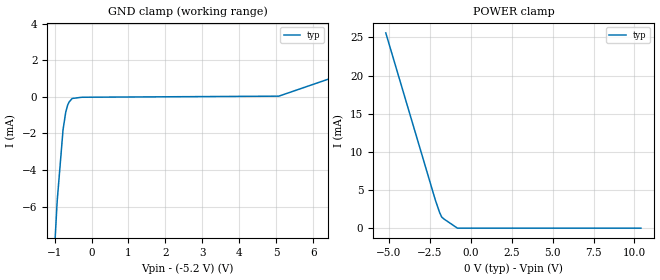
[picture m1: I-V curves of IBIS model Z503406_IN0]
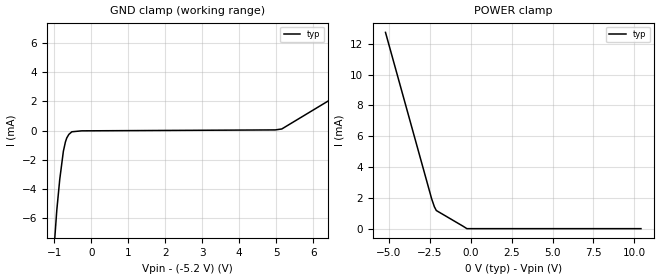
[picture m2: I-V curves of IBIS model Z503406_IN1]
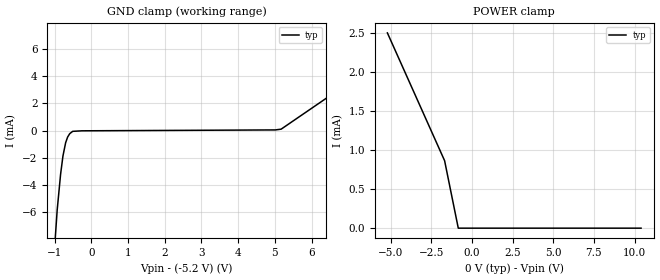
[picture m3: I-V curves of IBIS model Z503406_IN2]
| YOU ARE ONLY AUTHORIZED TO USE THIS SOFTWARE
| ACCORDING TO LICENSOR'S LICENSE RESTRICTIONS.
[IBIS Ver] 3.1
[File Name] mc10e151fn.ibs
[File Rev] 2.0
[Source] Measured and created by ICX Technology
[Date] Friday 7/14/00 9:07:49 AM
[Copyright]
| (C) COPYRIGHT 1993-2000
| MENTOR GRAPHICS CORPORATION
| ICX STANDARD LIBRARY, ICX PROJECT MODELING,
| ICX CUSTOM MODELING, ICX VENDOR MODEL
| ALL RIGHTS RESERVED.
| THE FOLLOWING ARE TRADEMARKS OR SERVICE MARKS OF
| MENTOR GRAPHICS CORPORATION:ICX (R), ICX STANDARD
| LIBRARY(R), ICX PROJECT MODELING(R), ICX CUSTOM
| MODELING(R), qualityIBIS(TM), MODELVIEWER(TM),
| AND MODELEDITOR(TM)
| ALL COPIES OF SOFTWARE, INCLUDING BUT NOT LIMITED TO
| ANY MODIFICATIONS, ENHANCEMENTS OR DERIVATIVE WORKS,
| MUST CONTAIN ALL MENTOR GRAPHICS CORPORATION'S
| NOTICES AND LEGENDS, INCLUDING THOSE EMBEDDED IN
| SOFTWARE AND THOSE AFFIXED TO SOFTWARE MEDIUM
| AND CONTAINER, AS RECEIVED FROM MENTOR GRAPHICS
| CORPORATION.
|  ZAP Model Builder 2.7
[Component] MC10E151FN
[Manufacturer] OnSemiconductor
[Package]
| variable   typ   min   max
R_pkg  .083ohms NA NA
L_pkg  4.299nH NA NA
C_pkg  1.045pF NA NA
[Pin] signal_name  model_name  R_pin  L_pin C_pin
1 VEE POWER .08 3.94n .925p
2 D2 Z503406_IN0 .082 4.14n .995p
3 D1 Z503406_IN0 .084 4.354n 1.065p
4 D0 Z503406_IN0 .086 4.583n 1.135p
5 NC NC .086 4.583n 1.135p
6 VCCO POWER .084 4.354n 1.065p
7 Q0 Z503406_OUT0 .082 4.14n .995p
8 _Q0 Z503406_OUT1 .08 3.94n .925p
9 Q1 Z503406_OUT0 .082 4.14n .995p
10 _Q1 Z503406_OUT1 .084 4.354n 1.065p
11 VCCO POWER .086 4.583n 1.135p
12 Q2 Z503406_OUT0 .086 4.583n 1.135p
13 _Q2 Z503406_OUT1 .084 4.354n 1.065p
14 Q3 Z503406_OUT0 .082 4.14n .995p
15 _Q3 Z503406_OUT1 .08 3.94n .925p
16 VCC POWER .082 4.14n .995p
17 Q4 Z503406_OUT0 .084 4.354n 1.065p
18 _Q4 Z503406_OUT1 .086 4.583n 1.135p
19 Q5 Z503406_OUT0 .086 4.583n 1.135p
20 _Q5 Z503406_OUT1 .084 4.354n 1.065p
21 VCCO POWER .082 4.14n .995p
22 NC NC .08 3.94n .925p
23 CLK1 Z503406_IN1 .082 4.14n .995p
24 CLK2 Z503406_IN1 .084 4.354n 1.065p
25 MR Z503406_IN2 .086 4.583n 1.135p
26 D5 Z503406_IN0 .086 4.583n 1.135p
27 D4 Z503406_IN0 .084 4.354n 1.065p
28 D3 Z503406_IN0 .082 4.14n .995p
| Models and submodels in the file (5): Z503406_IN0 (Input_ECL), Z503406_IN1 (Input_ECL), Z503406_IN2 (Input_ECL), Z503406_OUT0 (Output_ECL), Z503406_OUT1 (Output_ECL)
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| (C) COPYRIGHT 1993-2000
| MENTOR GRAPHICS CORPORATION
| ICX STANDARD LIBRARY, ICX PROJECT MODELING,
| ICX CUSTOM MODELING, ICX VENDOR MODEL
| ALL RIGHTS RESERVED.
| THE FOLLOWING ARE TRADEMARKS OR SERVICE MARKS OF
| MENTOR GRAPHICS CORPORATION:ICX (R), ICX STANDARD
| LIBRARY(R), ICX PROJECT MODELING(R), ICX CUSTOM
| MODELING(R), qualityIBIS(TM), MODELVIEWER(TM),
| AND MODELEDITOR(TM)
| ALL COPIES OF SOFTWARE, INCLUDING BUT NOT LIMITED TO
| ANY MODIFICATIONS, ENHANCEMENTS OR DERIVATIVE WORKS,
| MUST CONTAIN ALL MENTOR GRAPHICS CORPORATION'S
| NOTICES AND LEGENDS, INCLUDING THOSE EMBEDDED IN
| SOFTWARE AND THOSE AFFIXED TO SOFTWARE MEDIUM
| AND CONTAINER, AS RECEIVED FROM MENTOR GRAPHICS
| CORPORATION.
| Model Application Version 1.89 2/18/99.
[Model] Z503406_IN0
Model_type Input_ECL
Vinl = -1.480V
Vinh = -1.130V
C_comp 4.000pF NA NA
| variable typ   min   max
[Voltage Range] -5.200V NA NA
[GND Clamp Reference] -5.200V NA NA
[POWER Clamp Reference] 0.000V NA NA
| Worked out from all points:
|   GND clamp passes 1 mA (typ) near -0.71 V on its own axis
[GND Clamp]
-5.2V     -219.6mA   NA         NA
-1.104V   -12.16mA   NA         NA
-930mV    -5.698mA   NA         NA
-771mV    -1.796mA   NA         NA
-698mV    -829.8uA   NA         NA
-644mV    -438.5uA   NA         NA
-606mV    -280.1uA   NA         NA
-524mV    -88.3uA    NA         NA
-262mV    -22.21uA   NA         NA
5.069V    37.06uA    NA         NA
10.4V     3.729mA    NA         NA
[POWER Clamp]
-5.2V     25.59mA    NA         NA
-2.172V   3.698mA    NA         NA
-1.909V   2.046mA    NA         NA
-1.778V   1.442mA    NA         NA
-1.641V   1.197mA    NA         NA
-820.5mV  0A         NA         NA
10.4V     0A         NA         NA
| (C) COPYRIGHT 1993-2000
| MENTOR GRAPHICS CORPORATION
| ICX STANDARD LIBRARY, ICX PROJECT MODELING,
| ICX CUSTOM MODELING, ICX VENDOR MODEL
| ALL RIGHTS RESERVED.
| THE FOLLOWING ARE TRADEMARKS OR SERVICE MARKS OF
| MENTOR GRAPHICS CORPORATION:ICX (R), ICX STANDARD
| LIBRARY(R), ICX PROJECT MODELING(R), ICX CUSTOM
| MODELING(R), qualityIBIS(TM), MODELVIEWER(TM),
| AND MODELEDITOR(TM)
| ALL COPIES OF SOFTWARE, INCLUDING BUT NOT LIMITED TO
| ANY MODIFICATIONS, ENHANCEMENTS OR DERIVATIVE WORKS,
| MUST CONTAIN ALL MENTOR GRAPHICS CORPORATION'S
| NOTICES AND LEGENDS, INCLUDING THOSE EMBEDDED IN
| SOFTWARE AND THOSE AFFIXED TO SOFTWARE MEDIUM
| AND CONTAINER, AS RECEIVED FROM MENTOR GRAPHICS
| CORPORATION.
| Model Application Version 1.89 2/18/99.
[Model] Z503406_IN1
Model_type Input_ECL
Vinl = -1.480V
Vinh = -1.130V
C_comp 4.000pF NA NA
| variable typ   min   max
[Voltage Range] -5.200V NA NA
[GND Clamp Reference] -5.200V NA NA
[POWER Clamp Reference] 0.000V NA NA
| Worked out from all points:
|   GND clamp passes 1 mA (typ) near -0.72 V on its own axis
[GND Clamp]
-5.2V     -207.6mA   NA         NA
-1.109V   -11.67mA   NA         NA
-933mV    -5.458mA   NA         NA
-853mV    -3.347mA   NA         NA
-755mV    -1.42mA    NA         NA
-699mV    -777.3uA   NA         NA
-663mV    -507.6uA   NA         NA
-606mV    -262.9uA   NA         NA
-525mV    -85.5uA    NA         NA
4.972V    41.85uA    NA         NA
5.151V    105.2uA    NA         NA
10.4V     8.105mA    NA         NA
[POWER Clamp]
-5.2V     12.74mA    NA         NA
-2.386V   1.954mA    NA         NA
-2.214V   1.417mA    NA         NA
-2.096V   1.177mA    NA         NA
-458.9mV  156uA      NA         NA
-229.5mV  0A         NA         NA
10.4V     0A         NA         NA
| (C) COPYRIGHT 1993-2000
| MENTOR GRAPHICS CORPORATION
| ICX STANDARD LIBRARY, ICX PROJECT MODELING,
| ICX CUSTOM MODELING, ICX VENDOR MODEL
| ALL RIGHTS RESERVED.
| THE FOLLOWING ARE TRADEMARKS OR SERVICE MARKS OF
| MENTOR GRAPHICS CORPORATION:ICX (R), ICX STANDARD
| LIBRARY(R), ICX PROJECT MODELING(R), ICX CUSTOM
| MODELING(R), qualityIBIS(TM), MODELVIEWER(TM),
| AND MODELEDITOR(TM)
| ALL COPIES OF SOFTWARE, INCLUDING BUT NOT LIMITED TO
| ANY MODIFICATIONS, ENHANCEMENTS OR DERIVATIVE WORKS,
| MUST CONTAIN ALL MENTOR GRAPHICS CORPORATION'S
| NOTICES AND LEGENDS, INCLUDING THOSE EMBEDDED IN
| SOFTWARE AND THOSE AFFIXED TO SOFTWARE MEDIUM
| AND CONTAINER, AS RECEIVED FROM MENTOR GRAPHICS
| CORPORATION.
| Model Application Version 1.89 2/18/99.
[Model] Z503406_IN2
Model_type Input_ECL
Vinl = -1.480V
Vinh = -1.130V
C_comp 4.000pF NA NA
| variable typ   min   max
[Voltage Range] -5.200V NA NA
[GND Clamp Reference] -5.200V NA NA
[POWER Clamp Reference] 0.000V NA NA
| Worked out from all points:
|   GND clamp passes 1 mA (typ) near -0.71 V on its own axis
[GND Clamp]
-5.2V     -254.4mA   NA         NA
-1.085V   -12.06mA   NA         NA
-928mV    -5.849mA   NA         NA
-835mV    -3.214mA   NA         NA
-771mV    -1.875mA   NA         NA
-698mV    -898.4uA   NA         NA
-643mV    -477.6uA   NA         NA
-586mV    -230.1uA   NA         NA
-505mV    -59.7uA    NA         NA
5.01V     44.07uA    NA         NA
5.171V    100.1uA    NA         NA
10.4V     9.776mA    NA         NA
[POWER Clamp]
-5.2V     2.502mA    NA         NA
-1.681V   864.3uA    NA         NA
-840.5mV  0A         NA         NA
10.4V     0A         NA         NA
